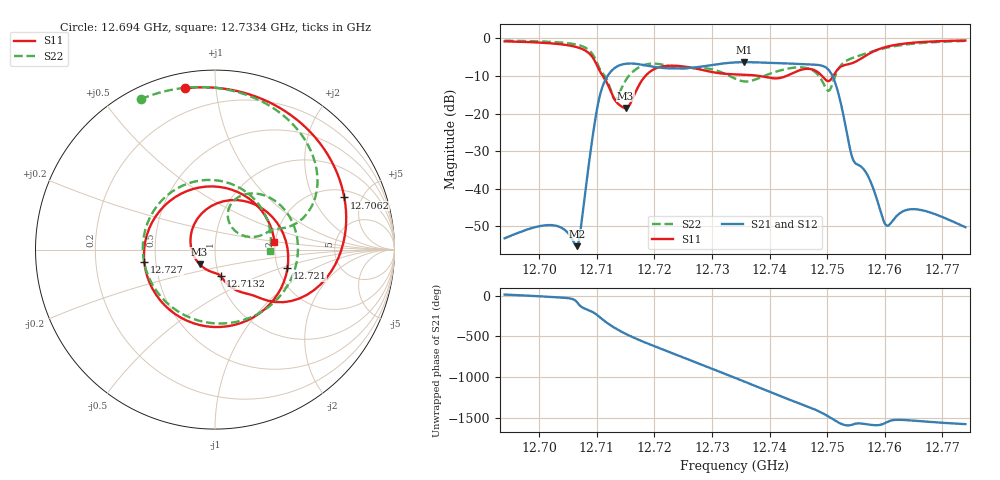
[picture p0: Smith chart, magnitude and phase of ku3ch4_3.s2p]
#  HZ  S  RI  R  50.00
! Rohde & Schwarz ZVA50 2Ports - Version 3.70 - 1145.1110k50 SN: 100192
! Date: 2025-10-24 10:35:01
! Measurements: S11 S21 S12 S22
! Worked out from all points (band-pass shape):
!   401 points, 12.694 GHz to 12.774 GHz, reference 50 ohm
!   highest |S21| = -6.32 dB at 12.7356 GHz (marker M1); lowest = -55.3 dB at 12.7066 GHz (marker M2)
!   |S21| within 3 dB of the highest: 12.71218 GHz to 12.75068 GHz (38.5 MHz wide, 0.302 % of centre)
!   lowest |S11| = -18.5 dB at 12.715 GHz (marker M3), VSWR 1.27, Z = 41.6 - j6.85 ohm
!   |S11| at or under -10 dB: 12.71105 GHz to 12.71844 GHz (7.386 MHz wide, 0.0581 % of centre); 12.73823 GHz to 12.74293 GHz (4.701 MHz wide, 0.0369 % of centre); 12.7491 GHz to 12.75106 GHz (1.958 MHz wide, 0.0154 % of centre)
!   |S22| runs from -16.3 to -0.6 dB; largest |S21 - S12| = 0.00016
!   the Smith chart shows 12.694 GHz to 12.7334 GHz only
!   S11 on the Smith chart (normalised r, x): 12.694 GHz: 0.08, +0.83; 12.7062 GHz: 2.44, +3.57; 12.7132 GHz: 1.02, -0.31; 12.721 GHz: 2.26, -0.57; 12.727 GHz: 0.43, -0.07; 12.7334 GHz: 1.98, +0.19
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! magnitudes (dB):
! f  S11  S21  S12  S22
! 12.694 GHz  -0.8  -53.2  -53.2  -0.6
! 12.7022 GHz  -1.3  -49.7  -49.6  -0.9
! 12.7062 GHz  -2.2  -54.8  -54.8  -1.6
! 12.7066 GHz  -2.4  -55.3  -55.3  -1.7
! 12.7074 GHz  -2.8  -48.3  -48.3  -2.0
! 12.7104 GHz  -8.3  -16.1  -16.1  -7.7
! 12.7132 GHz  -16.5  -7.8  -7.8  -16.3
! 12.715 GHz  -18.5  -6.8  -6.8  -11.2
! 12.7208 GHz  -7.7  -7.8  -7.8  -6.8
! 12.721 GHz  -7.6  -7.8  -7.8  -6.9
! 12.727 GHz  -8.0  -7.7  -7.7  -7.9
! 12.7334 GHz  -9.5  -6.5  -6.5  -10.3
! 12.734 GHz  -9.6  -6.4  -6.4  -10.7
! 12.7356 GHz  -9.7  -6.3  -6.3  -11.4
! 12.7474 GHz  -8.2  -7.0  -7.0  -8.4
! 12.7508 GHz  -10.6  -9.6  -9.6  -12.6
! 12.7544 GHz  -6.6  -31.9  -31.9  -5.2
! 12.757 GHz  -4.3  -36.4  -36.4  -3.9
! 12.7598 GHz  -2.5  -48.6  -48.5  -2.7
! 12.7608 GHz  -2.1  -49.6  -49.6  -2.3
! 12.7652 GHz  -1.1  -45.4  -45.4  -1.4
! 12.774 GHz  -0.6  -50.2  -50.2  -0.7
